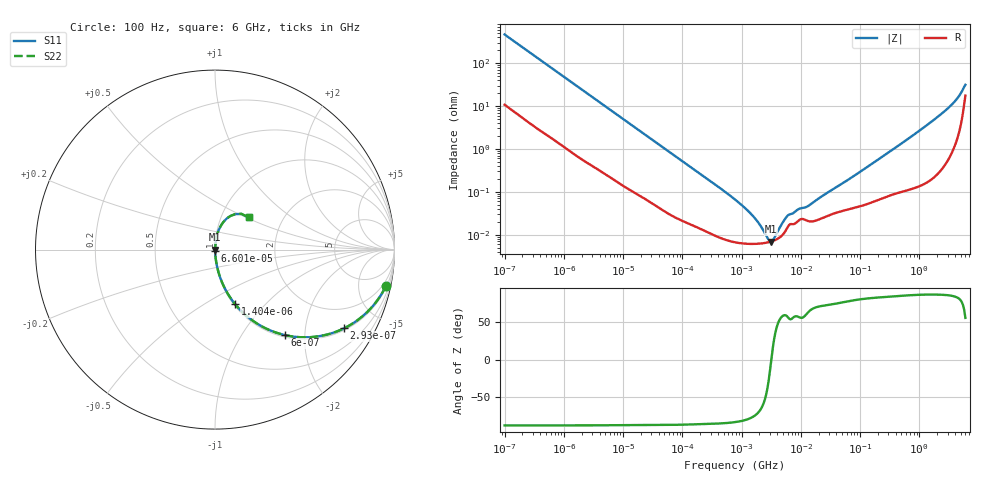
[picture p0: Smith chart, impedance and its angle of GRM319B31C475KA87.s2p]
!Murata Part Number: GRM319B31C475KA87
!These Parameters are Measured in Series Mode Connection
!Data Generated on Mar 30, 2021
!  o--ll--o
!Port1  Port2
!  o------o
!Operation Temp=25[degC], DC Bias Voltage=0[V]
!Freq. Start=100[Hz] Stop=6[GHz] 401[Steps]
# Hz S RI R 50
!Freq.(Hz) S11(Real) S11(Imag) S21(Real) S21(Imag) S12(Real) S12(Imag) S22(Real) S22(Imag)
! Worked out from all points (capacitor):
!   401 points, 100 Hz to 6 GHz, reference 50 ohm
!   read as one part in series: C = 3.4 uF near 109 Hz
!   lowest |Z| = 6.94 mohm at 3.104 MHz (marker M1)
!   series resonance near 3.181 MHz, so ESL is about 740 pH
!   S11 on the Smith chart (normalised r, x): 100 Hz: 1.21, -9.32; 293 Hz: 1.07, -3.23; 600 Hz: 1.04, -1.59; 1.404 kHz: 1.02, -0.69; 66 kHz: 1.00, -0.02; 6 GHz: 1.35, +0.52
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100  0.9517 -0.2032  0.0483 0.2032  0.0483 0.2032  0.9517 -0.2032
179  0.8678 -0.3276  0.1322 0.3276  0.1322 0.3276  0.8678 -0.3276
293  0.7186 -0.4387  0.2814 0.4387  0.2814 0.4387  0.7186 -0.4387
419  0.5614 -0.4851  0.4386 0.4851  0.4386 0.4851  0.5614 -0.4851
600  0.3909 -0.4766  0.6091 0.4766  0.6091 0.4766  0.3909 -0.4766
938  0.2136 -0.3984  0.7864 0.3984  0.7864 0.3984  0.2136 -0.3984
1404  0.1117 -0.3037  0.8883 0.3037  0.8883 0.3037  0.1117 -0.3037
2008  0.0601 -0.2262  0.9399 0.2262  0.9399 0.2262  0.0601 -0.2262
6728  0.00732 -0.0729  0.9927 0.0729  0.9927 0.0729  0.00732 -0.0729
40335  0.000583 -0.0127  0.9994 0.0127  0.9994 0.0127  0.000583 -0.0127
66005  0.00034 -0.00781  0.9997 0.00781  0.9997 0.00781  0.00034 -0.00781
774597  6.7e-05 -0.000659  0.9999 0.000659  0.9999 0.000659  6.7e-05 -0.000659
1516199  6.11e-05 -0.000278  0.9999 0.000278  0.9999 0.000278  6.11e-05 -0.000278
2481164  6.43e-05 -8.67e-05  0.9999 8.67e-05  0.9999 8.67e-05  6.43e-05 -8.67e-05
3103719  6.89e-05 -8.5e-06  0.9999 8.5e-06  0.9999 8.5e-06  6.89e-05 -8.5e-06
3882480  7.78e-05 7.08e-05  0.9999 -7.08e-05  0.9999 -7.08e-05  7.78e-05 7.08e-05
6075234  0.000155 0.000237  0.9998 -0.000237  0.9998 -0.000237  0.000155 0.000237
1.555665e7  0.000204 0.000504  0.9998 -0.000504  0.9998 -0.000504  0.000204 0.000504
3.124326e8  0.000883 0.00848  0.9991 -0.00848  0.9991 -0.00848  0.000883 0.00848
2.450438e9  0.00808 0.0676  0.9919 -0.0676  0.9919 -0.0676  0.00808 0.0676
4.385646e9  0.0381 0.1418  0.9619 -0.1418  0.9619 -0.1418  0.0381 0.1418
6e9  0.1885 0.1791  0.8115 -0.1791  0.8115 -0.1791  0.1885 0.1791
